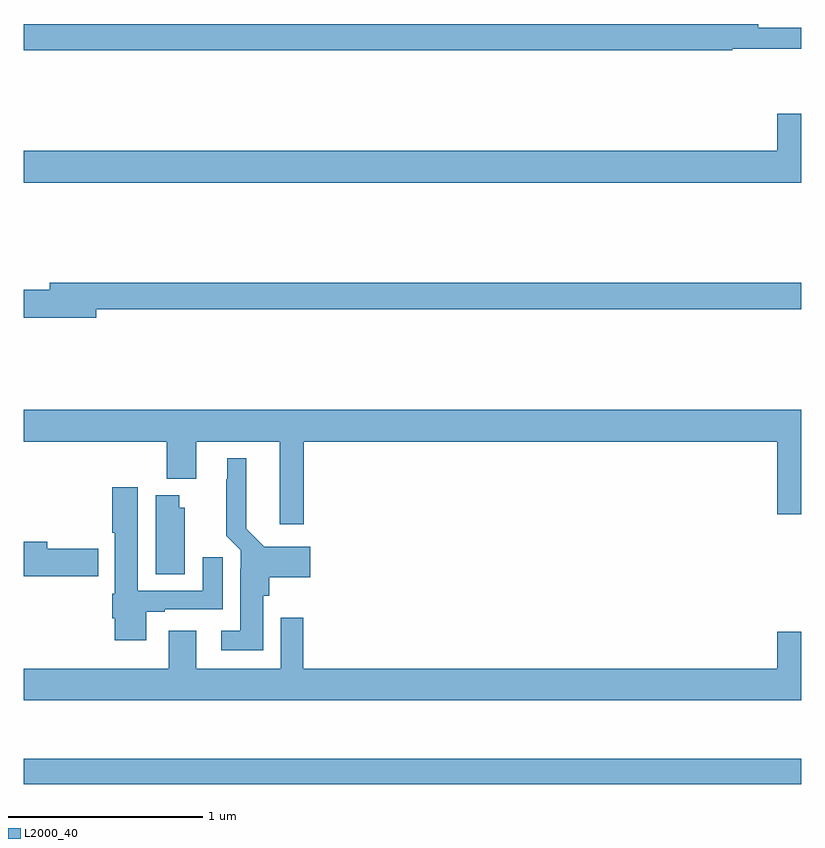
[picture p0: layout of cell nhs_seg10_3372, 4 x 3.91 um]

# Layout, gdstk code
import gdstk
lib = gdstk.Library(unit=1e-6, precision=1e-09)
def R(c, l, rs):  # rectangles x0, y0, x1, y1
    for r in rs: c.add(gdstk.rectangle(r[:2], r[2:], *l))
def P(c, l, *ps):  # polygons
    for p in ps: c.add(gdstk.Polygon(p, *l))
L2000_40 = (2000, 40)

nhs_seg10_3372 = lib.new_cell('nhs_seg10_3372')
R(nhs_seg10_3372, L2000_40, [(293,1322.53,297,1322.659)])
P(nhs_seg10_3372, L2000_40, [(296.645,1326.312),(297,1326.312),(297,1326.421),(296.78,1326.421),(296.78,1326.44),(293,1326.44),(293,1326.304),(296.645,1326.304)],
  [(297,1325.977),(296.876,1325.977),(296.876,1325.788),(293,1325.788),(293,1325.624),(297,1325.624)],
  [(293.374,1324.972),(297,1324.972),(297,1325.108),(293.135,1325.108),(293.135,1325.072),(293,1325.072),(293,1324.93),(293.374,1324.93)],
  [(294.44,1324.292),(296.876,1324.292),(296.876,1323.918),(297,1323.918),(297,1324.456),(293,1324.456),(293,1324.292),(293.735,1324.292),(293.735,1324.1),(293.887,1324.1),(293.887,1324.292),(294.317,1324.292),(294.317,1323.867),(294.44,1323.867)],
  [(294.232,1323.498),(294.263,1323.498),(294.263,1323.593),(294.475,1323.593),(294.475,1323.751),(294.237,1323.751),(294.145,1323.844),(294.145,1324.207),(294.047,1324.207),(294.047,1324.097),(294.043,1324.097),(294.043,1323.806),(294.117,1323.732),(294.117,1323.638),(294.113,1323.638),(294.113,1323.319),(294.015,1323.319),(294.015,1323.218),(294.232,1323.218)],
  [(293.629,1323.417),(293.725,1323.417),(293.725,1323.429),(294.025,1323.429),(294.025,1323.697),(293.921,1323.697),(293.921,1323.525),(293.587,1323.525),(293.587,1324.057),(293.456,1324.057),(293.456,1323.823),(293.468,1323.823),(293.468,1323.509),(293.456,1323.509),(293.456,1323.382),(293.468,1323.382),(293.468,1323.27),(293.629,1323.27)],
  [(293.827,1323.951),(293.8,1323.951),(293.8,1324.015),(293.678,1324.015),(293.678,1323.61),(293.827,1323.61)],
  [(293.383,1323.74),(293.122,1323.74),(293.122,1323.776),(293,1323.776),(293,1323.598),(293.383,1323.598)],
  [(297,1323.313),(296.876,1323.313),(296.876,1323.124),(294.437,1323.124),(294.437,1323.385),(294.321,1323.385),(294.321,1323.124),(293.887,1323.124),(293.887,1323.319),(293.747,1323.319),(293.747,1323.124),(293,1323.124),(293,1322.96),(297,1322.96)])

lib.write_gds('nhs_seg10_3372.gds')
